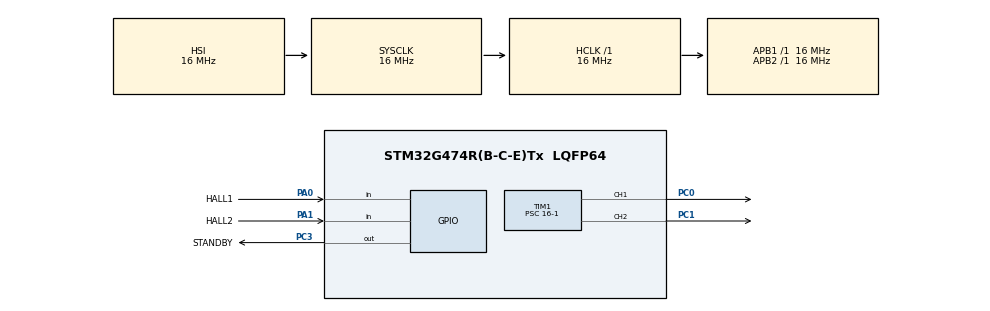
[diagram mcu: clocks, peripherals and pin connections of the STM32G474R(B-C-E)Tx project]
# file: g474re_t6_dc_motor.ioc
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Mcu.Family=STM32G4
Mcu.Name=STM32G474R(B-C-E)Tx
Mcu.Package=LQFP64
NVIC.PriorityGroup=NVIC_PRIORITYGROUP_4
PA0.GPIO_Label=HALL1
PA0.Signal=GPIO_Input
PA1.GPIO_Label=HALL2
PA1.Signal=GPIO_Input
PC0.Signal=S_TIM1_CH1
PC1.Signal=S_TIM1_CH2
PC3.GPIO_Label=STANDBY
PC3.GPIO_Speed=GPIO_SPEED_FREQ_HIGH
PC3.Signal=GPIO_Output
ProjectManager.HeapSize=0x200
ProjectManager.StackSize=0x400
ProjectManager.TargetToolchain=STM32CubeIDE
RCC.AHBFreq_Value=16000000
RCC.APB1Freq_Value=16000000
RCC.APB1TimFreq_Value=16000000
RCC.APB2Freq_Value=16000000
RCC.APB2TimFreq_Value=16000000
RCC.CortexFreq_Value=16000000
RCC.EXTERNAL_CLOCK_VALUE=12288000
RCC.HCLKFreq_Value=16000000
RCC.HSE_VALUE=8000000
RCC.HSI48_VALUE=48000000
RCC.HSI_VALUE=16000000
RCC.LSE_VALUE=32768
RCC.SYSCLKFreq_VALUE=16000000
RCC.USBFreq_Value=64000000
RCC.VCOOutputFreq_Value=128000000
SH.S_TIM1_CH1.0=TIM1_CH1,PWM Generation1 CH1
SH.S_TIM1_CH2.0=TIM1_CH2,PWM Generation2 CH2
TIM1.Channel-PWM\ Generation1\ CH1=TIM_CHANNEL_1
TIM1.Channel-PWM\ Generation2\ CH2=TIM_CHANNEL_2
TIM1.PeriodNoDither=1000-1
TIM1.Prescaler=16-1
VP_SYS_VS_DBSignals.Mode=DisableDeadBatterySignals
board=custom

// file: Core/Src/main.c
/* USER CODE BEGIN Header */
/**
 ******************************************************************************
 * @file           : main.c
 * @brief          : Main program body
 ******************************************************************************
 * @attention
 *
 * Copyright (c) 2026 STMicroelectronics.
 * All rights reserved.
 *
 * This software is licensed under terms that can be found in the LICENSE file
 * in the root directory of this software component.
 * If no LICENSE file comes with this software, it is provided AS-IS.
 *
 ******************************************************************************
 */
/* USER CODE END Header */
#include "main.h"

/* USER CODE BEGIN PD */
#define EXAMP_CCW 1
#define EXAMP_CW 2
#define EXAMP_CW_CCW 3
#define CONTROL_BY_HALL 4
#define EXAMP EXAMP_CW

/* USER CODE END PD */

TIM_HandleTypeDef htim1;

/* USER CODE BEGIN PV */
volatile uint8_t hall1_state, hall2_state;

uint8_t turn;
/* USER CODE END PV */

void SystemClock_Config(void);
static void MX_GPIO_Init(void);
static void MX_TIM1_Init(void);

int main(void) {

	/* MCU Configuration--------------------------------------------------------*/

	/* Reset of all peripherals, Initializes the Flash interface and the Systick. */
	HAL_Init();

	/* Configure the system clock */
	SystemClock_Config();

	/* Initialize all configured peripherals */
	MX_GPIO_Init();
	MX_TIM1_Init();
	/* USER CODE BEGIN 2 */

	// 1. STANDBY 해제
	HAL_GPIO_WritePin(STANDBY_GPIO_Port, STANDBY_Pin, GPIO_PIN_RESET);
	HAL_Delay(1000);
	HAL_GPIO_WritePin(STANDBY_GPIO_Port, STANDBY_Pin, GPIO_PIN_SET);
	// 2. duty 설정 (ARR=999 -> CCR/1000)
	TIM1->CCR1 = 400;   // CH1 30%
	TIM1->CCR2 = 400;   // CH2 70%

	// 3. ENABLE =========================
#if EXAMP == EXAMP_CW_CCW
	// capture/compare output enable (CC1E, CC2E), CC1P/CC2P=0 -> active high
//	TIM1->CCER |= (1 << 0);
//	TIM1->CCER |= (1 << 4);
	// main output enable
	TIM1->BDTR |= (1 << 15);
	// counter enable
	TIM1->CR1 |= (1 << 0);
#elif EXAMP == CONTROL_BY_HALL	//일단 CCW방향으로 회전
	// capture/compare output enable (CC1E, CC2E), CC1P/CC2P=0 -> active high
	TIM1->CCER |= (1 << 0);
	TIM1->CCER &= ~(1 << 4);
	// main output enable
	TIM1->BDTR |= (1 << 15);
	// counter enable
	TIM1->CR1 |= (1 << 0);

#elif EXAMP == EXAMP_CW
	// capture/compare output enable (CC1E, CC2E), CC1P/CC2P=0 -> active high
	TIM1->CCER &= ~(1 << 0);
	TIM1->CCER |= (1 << 4);
	// main output enable
	TIM1->BDTR |= (1 << 15);
	// counter enable
	TIM1->CR1 |= (1 << 0);
#elif EXAMP == EXAMP_CCW
	// capture/compare output enable (CC1E, CC2E), CC1P/CC2P=0 -> active high
	TIM1->CCER |= (1 << 0);
	TIM1->CCER &= ~(1 << 4);
	// main output enable
	TIM1->BDTR |= (1 << 15);
	// counter enable
	TIM1->CR1 |= (1 << 0);
#endif
	// ==================================

	/* USER CODE END 2 */

	/* Infinite loop */
	while (1) {

		/* USER CODE BEGIN 3 */

#if EXAMP == EXAMP_CW_CCW
		if (turn) {
			TIM1->CCER |= (1 << 0);
			TIM1->CCER &= ~(1 << 4);
			turn = 0;
		} else {
			TIM1->CCER &= ~(1 << 0);
			TIM1->CCER |= (1 << 4);
			turn = 1;
		}

		HAL_Delay(2000);
#elif EXAMP == CONTROL_BY_HALL
		hall1_state = HAL_GPIO_ReadPin(HALL1_GPIO_Port, HALL1_Pin);
		hall2_state = HAL_GPIO_ReadPin(HALL2_GPIO_Port, HALL2_Pin);
		if ((hall1_state == 1) && (hall2_state == 0)) {
			// CW방향으로 전환
			TIM1->CCER &= ~(1 << 0);
			TIM1->CCER |= (1 << 4);
		} else if ((hall1_state == 1) && (hall2_state == 1)) {
			// CCW방향으로 전환
			TIM1->CCER |= (1 << 0);
			TIM1->CCER &= ~(1 << 4);
		}

#endif

	}
	/* USER CODE END 3 */
}

void SystemClock_Config(void) {
	RCC_OscInitTypeDef RCC_OscInitStruct = { 0 };
	RCC_ClkInitTypeDef RCC_ClkInitStruct = { 0 };

	/** Configure the main internal regulator output voltage
	 */
	HAL_PWREx_ControlVoltageScaling(PWR_REGULATOR_VOLTAGE_SCALE1);

	/** Initializes the RCC Oscillators according to the specified parameters
	 * in the RCC_OscInitTypeDef structure.
	 */
	RCC_OscInitStruct.OscillatorType = RCC_OSCILLATORTYPE_HSI;
	RCC_OscInitStruct.HSIState = RCC_HSI_ON;
	RCC_OscInitStruct.HSICalibrationValue = RCC_HSICALIBRATION_DEFAULT;
	RCC_OscInitStruct.PLL.PLLState = RCC_PLL_NONE;
	if (HAL_RCC_OscConfig(&RCC_OscInitStruct) != HAL_OK) {
		Error_Handler();
	}

	/** Initializes the CPU, AHB and APB buses clocks
	 */
	RCC_ClkInitStruct.ClockType = RCC_CLOCKTYPE_HCLK | RCC_CLOCKTYPE_SYSCLK
			| RCC_CLOCKTYPE_PCLK1 | RCC_CLOCKTYPE_PCLK2;
	RCC_ClkInitStruct.SYSCLKSource = RCC_SYSCLKSOURCE_HSI;
	RCC_ClkInitStruct.AHBCLKDivider = RCC_SYSCLK_DIV1;
	RCC_ClkInitStruct.APB1CLKDivider = RCC_HCLK_DIV1;
	RCC_ClkInitStruct.APB2CLKDivider = RCC_HCLK_DIV1;

	if (HAL_RCC_ClockConfig(&RCC_ClkInitStruct, FLASH_LATENCY_0) != HAL_OK) {
		Error_Handler();
	}
}

static void MX_TIM1_Init(void) {

	TIM_MasterConfigTypeDef sMasterConfig = { 0 };
	TIM_OC_InitTypeDef sConfigOC = { 0 };
	TIM_BreakDeadTimeConfigTypeDef sBreakDeadTimeConfig = { 0 };

	htim1.Instance = TIM1;
	htim1.Init.Prescaler = 16 - 1;
	htim1.Init.CounterMode = TIM_COUNTERMODE_UP;
	htim1.Init.Period = 999;
	htim1.Init.ClockDivision = TIM_CLOCKDIVISION_DIV1;
	htim1.Init.RepetitionCounter = 0;
	htim1.Init.AutoReloadPreload = TIM_AUTORELOAD_PRELOAD_DISABLE;
	if (HAL_TIM_PWM_Init(&htim1) != HAL_OK) {
		Error_Handler();
	}
	sMasterConfig.MasterOutputTrigger = TIM_TRGO_RESET;
	sMasterConfig.MasterOutputTrigger2 = TIM_TRGO2_RESET;
	sMasterConfig.MasterSlaveMode = TIM_MASTERSLAVEMODE_DISABLE;
	if (HAL_TIMEx_MasterConfigSynchronization(&htim1, &sMasterConfig)
			!= HAL_OK) {
		Error_Handler();
	}
	sConfigOC.OCMode = TIM_OCMODE_PWM1;
	sConfigOC.Pulse = 0;
	sConfigOC.OCPolarity = TIM_OCPOLARITY_HIGH;
	sConfigOC.OCNPolarity = TIM_OCNPOLARITY_HIGH;
	sConfigOC.OCFastMode = TIM_OCFAST_DISABLE;
	sConfigOC.OCIdleState = TIM_OCIDLESTATE_RESET;
	sConfigOC.OCNIdleState = TIM_OCNIDLESTATE_RESET;
	if (HAL_TIM_PWM_ConfigChannel(&htim1, &sConfigOC, TIM_CHANNEL_1)
			!= HAL_OK) {
		Error_Handler();
	}
	if (HAL_TIM_PWM_ConfigChannel(&htim1, &sConfigOC, TIM_CHANNEL_2)
			!= HAL_OK) {
		Error_Handler();
	}
	sBreakDeadTimeConfig.OffStateRunMode = TIM_OSSR_DISABLE;
	sBreakDeadTimeConfig.OffStateIDLEMode = TIM_OSSI_DISABLE;
	sBreakDeadTimeConfig.LockLevel = TIM_LOCKLEVEL_OFF;
	sBreakDeadTimeConfig.DeadTime = 0;
	sBreakDeadTimeConfig.BreakState = TIM_BREAK_DISABLE;
	sBreakDeadTimeConfig.BreakPolarity = TIM_BREAKPOLARITY_HIGH;
	sBreakDeadTimeConfig.BreakFilter = 0;
	sBreakDeadTimeConfig.BreakAFMode = TIM_BREAK_AFMODE_INPUT;
	sBreakDeadTimeConfig.Break2State = TIM_BREAK2_DISABLE;
	sBreakDeadTimeConfig.Break2Polarity = TIM_BREAK2POLARITY_HIGH;
	sBreakDeadTimeConfig.Break2Filter = 0;
	sBreakDeadTimeConfig.Break2AFMode = TIM_BREAK_AFMODE_INPUT;
	sBreakDeadTimeConfig.AutomaticOutput = TIM_AUTOMATICOUTPUT_DISABLE;
	if (HAL_TIMEx_ConfigBreakDeadTime(&htim1, &sBreakDeadTimeConfig)
			!= HAL_OK) {
		Error_Handler();
	}
	HAL_TIM_MspPostInit(&htim1);

}

static void MX_GPIO_Init(void) {
	GPIO_InitTypeDef GPIO_InitStruct = { 0 };

	/* GPIO Ports Clock Enable */
	__HAL_RCC_GPIOC_CLK_ENABLE();
	__HAL_RCC_GPIOA_CLK_ENABLE();

	/*Configure GPIO pin Output Level */
	HAL_GPIO_WritePin(STANDBY_GPIO_Port, STANDBY_Pin, GPIO_PIN_RESET);

	/*Configure GPIO pin : STANDBY_Pin */
	GPIO_InitStruct.Pin = STANDBY_Pin;
	GPIO_InitStruct.Mode = GPIO_MODE_OUTPUT_PP;
	GPIO_InitStruct.Pull = GPIO_NOPULL;
	GPIO_InitStruct.Speed = GPIO_SPEED_FREQ_HIGH;
	HAL_GPIO_Init(STANDBY_GPIO_Port, &GPIO_InitStruct);

	/*Configure GPIO pins : HALL1_Pin HALL2_Pin */
	GPIO_InitStruct.Pin = HALL1_Pin | HALL2_Pin;
	GPIO_InitStruct.Mode = GPIO_MODE_INPUT;
	GPIO_InitStruct.Pull = GPIO_NOPULL;
	HAL_GPIO_Init(GPIOA, &GPIO_InitStruct);

}

void Error_Handler(void) {
	__disable_irq();
	while (1) {
	}
}
